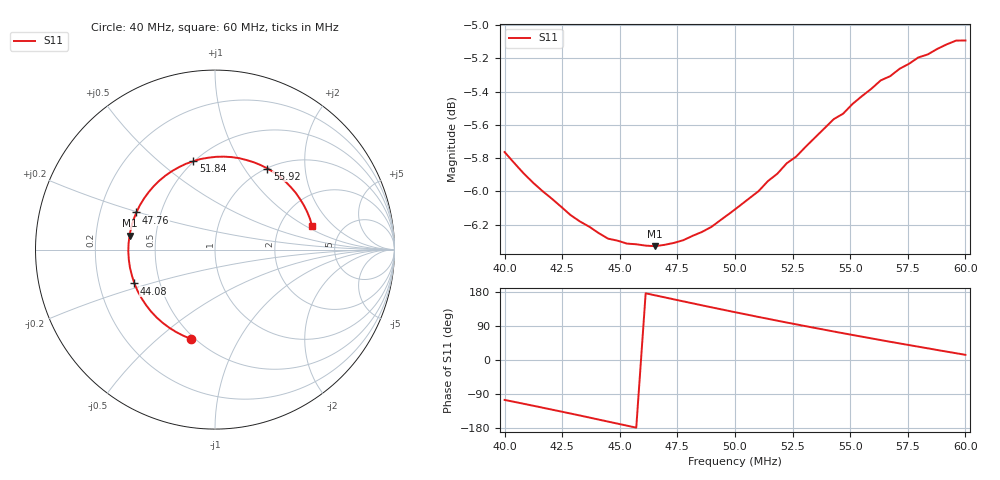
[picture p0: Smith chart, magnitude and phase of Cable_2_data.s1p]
# MHz S MA R 50
!  freq  S11
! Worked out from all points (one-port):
!   50 points, 40 MHz to 60 MHz, reference 50 ohm
!   lowest |S11| = -6.3 dB at 46.53 MHz (marker M1), VSWR 2.87, Z = 17.6 + j3.57 ohm
!   |S11| at or under -10 dB: nowhere
!   S11 on the Smith chart (normalised r, x): 40 MHz: 0.48, -0.65; 44.08 MHz: 0.36, -0.18; 47.76 MHz: 0.36, +0.20; 51.84 MHz: 0.50, +0.66; 55.92 MHz: 1.01, +1.28; 60 MHz: 3.03, +1.15
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40  0.515 -105.4
41.22449  0.5043 -120.5
42.04082  0.4987 -130.8
42.85714  0.4931 -141.2
43.67347  0.4891 -151.8
44.08163  0.4869 -157.2
44.89796  0.4844 -167.9
45.30612  0.4834 -173.2
45.71429  0.4832 -178.6
46.53061  0.4825 170.7
46.93878  0.483 165.4
47.7551  0.4845 154.7
48.16327  0.486 149.5
48.97959  0.489 139.0
50.20408  0.4962 123.7
51.02041  0.5012 113.6
51.83673  0.5073 103.7
52.65306  0.5134 94.1
53.06122  0.5169 89.4
53.87755  0.5235 80.0
54.28571  0.5269 75.2
55.10204  0.5325 66.0
55.91837  0.5381 57.1
56.73469  0.5428 48.1
57.55102  0.5475 39.4
58.77551  0.5531 26.4
59.59184  0.5563 17.9
60  0.5564 13.6
